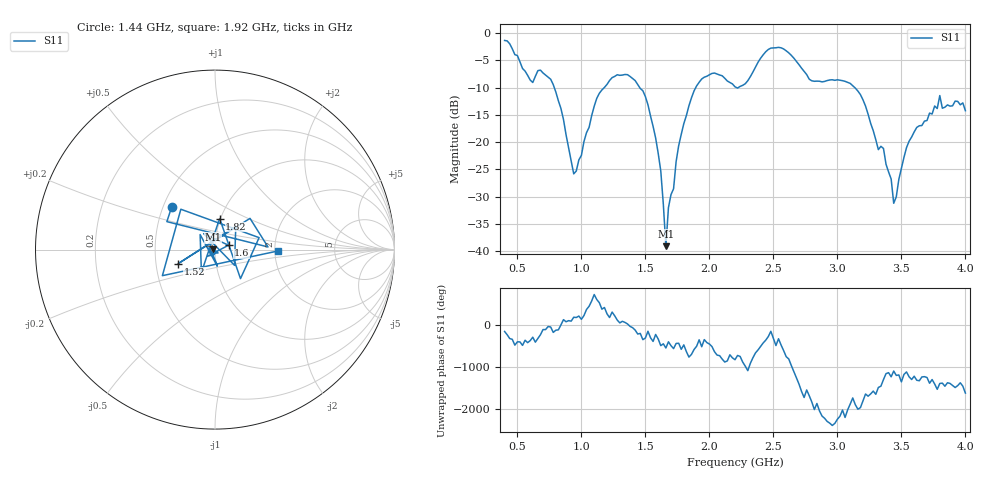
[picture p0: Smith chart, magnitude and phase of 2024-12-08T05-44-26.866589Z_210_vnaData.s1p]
!Created with skrf (http://scikit-rf.org).
# Hz S RI R 50.0
!freq ReS11 ImS11
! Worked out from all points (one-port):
!   181 points, 400 MHz to 4 GHz, reference 50 ohm
!   lowest |S11| = -39.0 dB at 1.66 GHz (marker M1), VSWR 1.02, Z = 48.9 + j0.252 ohm
!   |S11| at or under -10 dB: 788 MHz to 1.179 GHz (391.1 MHz wide, 39.8 % of centre); 1.455 GHz to 1.894 GHz (438.1 MHz wide, 26.2 % of centre); 3.135 GHz to end of sweep (the widest 3 of 4)
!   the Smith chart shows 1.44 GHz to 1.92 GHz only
!   S11 on the Smith chart (normalised r, x): 1.44 GHz: 0.55, +0.29; 1.52 GHz: 0.65, -0.11; 1.6 GHz: 1.16, +0.06; 1.82 GHz: 0.99, +0.35; 1.92 GHz: 2.09, -0.03
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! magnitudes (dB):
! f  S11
! 400 MHz  -1.4
! 620 MHz  -9.1
! 760 MHz  -8.5
! 860 MHz  -15.8
! 940 MHz  -25.8
! 1.12 GHz  -12.0
! 1.3 GHz  -7.8
! 1.44 GHz  -9.4
! 1.52 GHz  -13.2
! 1.6 GHz  -22.0
! 1.62 GHz  -25.3
! 1.66 GHz  -39.0
! 1.68 GHz  -32.0
! 1.72 GHz  -28.5
! 1.76 GHz  -20.6
! 1.82 GHz  -15.1
! 1.92 GHz  -9.0
! 2.04 GHz  -7.3
! 2.2 GHz  -9.9
! 2.48 GHz  -2.8
! 2.66 GHz  -4.6
! 2.8 GHz  -8.8
! 3.1 GHz  -9.2
! 3.36 GHz  -21.2
! 3.44 GHz  -31.2
! 3.56 GHz  -19.8
! 3.8 GHz  -11.5
! 4 GHz  -14.2
